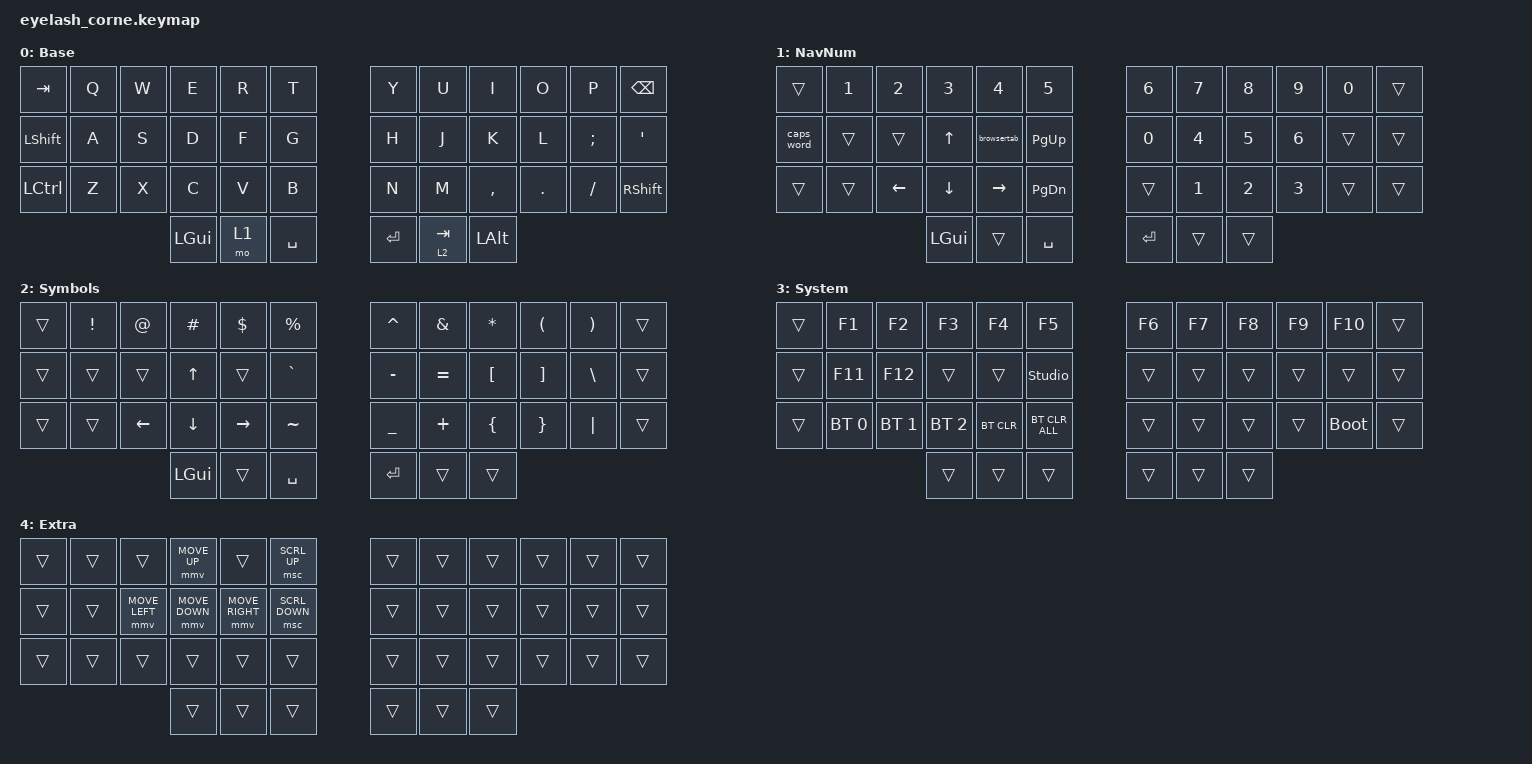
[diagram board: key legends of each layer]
#define ZMK_POINTING_DEFAULT_MOVE_VAL 1200  // 600
#define ZMK_POINTING_DEFAULT_SCRL_VAL 25   // 10

#include <input/processors.dtsi>
#include <zephyr/dt-bindings/input/input-event-codes.h>
#include <behaviors.dtsi>
#include <dt-bindings/zmk/bt.h>
#include <dt-bindings/zmk/keys.h>
#include <dt-bindings/zmk/outputs.h>
#include <dt-bindings/zmk/pointing.h>
#include <dt-bindings/zmk/rgb.h>

&mmv_input_listener { input-processors = <&zip_xy_scaler 2 1>; };

&msc_input_listener { input-processors = <&zip_scroll_scaler 2 1>; };

&msc {
    acceleration-exponent = <1>;      // 0
    time-to-max-speed-ms = <100>;       // 300
    delay-ms = <0>;                   // 0
};

&mmv {
    time-to-max-speed-ms = <500>;
    acceleration-exponent = <1>;
    trigger-period-ms = <16>;
};

&soft_off { hold-time-ms = <2000>; };

#include <behaviors.dtsi>
#include <dt-bindings/zmk/bt.h>
#include <dt-bindings/zmk/keys.h>
#include <dt-bindings/zmk/pointing.h>

#define DEF 0
#define NAV 1
#define SYM 2
#define ADJ 3
#define EXTRA 4

/ {
    behaviors {
        hm: homerow_mods {
            compatible = "zmk,behavior-hold-tap";
            label = "HOMEROW_MODS";
            #binding-cells = <2>;
            tapping-term-ms = <200>;
            quick_tap_ms = <0>;
            flavor = "tap-preferred";
            bindings = <&kp>, <&kp>;

            quick-tap-ms = <180>;
            global-quick-tap;
        };

        para: para {
            compatible = "zmk,behavior-tap-dance";
            label = "PARA";
            #binding-cells = <0>;
            bindings = <&kp LEFT_PARENTHESIS>, <&kp RIGHT_PARENTHESIS>;
        };

        caps: caps {
            compatible = "zmk,behavior-caps-word";
            label = "CAPS";
            #binding-cells = <0>;
            continue-list = <MINUS BACKSPACE>;
        };

        paraless: paraless {
            compatible = "zmk,behavior-mod-morph";
            label = "PARALESS";
            bindings = <&kp LEFT_PARENTHESIS>, <&kp LESS_THAN>;

            #binding-cells = <0>;
            mods = <(MOD_LSFT)>;
        };

        paragreat: paragreat {
            compatible = "zmk,behavior-mod-morph";
            label = "PARAGREAT";
            bindings = <&kp RIGHT_PARENTHESIS>, <&kp GREATER_THAN>;

            #binding-cells = <0>;
            mods = <(MOD_LSFT)>;
        };
    };

    macros {
        browsertab: browsertab {
            compatible = "zmk,behavior-macro";
            #binding-cells = <0>;
            bindings =
                <&macro_press>,
                <&kp LCTRL>,
                <&macro_tap>,
                <&kp TAB>,
                <&macro_release>,
                <&kp LCTRL>;
        };

    };

    combos {
        compatible = "zmk,combos";

        escape {
            bindings = <&kp ESCAPE>;
            key-positions = <13 29>;
        };

        delete {
            bindings = <&kp DELETE>;
            key-positions = <15 21>;
        };

        perc {
            bindings = <&kp PERCENT>;
            key-positions = <5 17>;
        };

        equal {
            bindings = <&kp EQUAL>;
            key-positions = <28 16>;
        };

        dollar {
            bindings = <&kp DOLLAR>;
            key-positions = <4 16>;
        };

        pound {
            bindings = <&kp POUND>;
            key-positions = <3 15>;
        };

        at {
            bindings = <&kp AT>;
            key-positions = <2 14>;
        };

        backslash {
            bindings = <&kp BACKSLASH>;
            key-positions = <26 14>;
        };

        copy {
            bindings = <&kp K_COPY>;
            key-positions = <28 27>;
        };

        paste {
            bindings = <&kp K_PASTE>;
            key-positions = <26 27>;
        };

        star {
            bindings = <&kp STAR>;
            key-positions = <8 20>;
        };

        slash {
            bindings = <&kp SLASH>;
            key-positions = <32 20>;
        };

        plus {
            bindings = <&kp PLUS>;
            key-positions = <7 19>;
        };

        minus {
            bindings = <&kp KP_MINUS>;
            key-positions = <31 19>;
        };

        underscore {
            bindings = <&kp UNDER>;
            key-positions = <30 18>;
        };

        leftbrack {
            bindings = <&kp LEFT_BRACKET>;
            key-positions = <31 32>;
        };

        rightbrack {
            bindings = <&kp RIGHT_BRACKET>;
            key-positions = <33 32>;
        };

        para-less {
            bindings = <&paraless>;
            key-positions = <20 19>;
        };

        para-great {
            bindings = <&paragreat>;
            key-positions = <20 21>;
        };
    };

    //

    keymap {
        compatible = "zmk,keymap";

        DEF {
            display-name = "Base";

            // -----------------------------------------------------------------------------------------
            // |  Q  |  W  |  E  |  R  |  T  |   |  Y  |  U   |  I  |  O  |  P  |
            // |  A  |  S  |  D  |  F  |  G  |   |  H  |  J   |  K  |  L  |  ;  |
            // |  Z  |  X  |  C  |  V  |  B  |   |  N  |  M   |  ,  |  .  |  /  |
            // | GUI | CTRL | SHFT | LWR | SPC |   | ENT | RSE  | BKSP | ALT | ESC |

            bindings = <
&kp TAB    &kp Q  &kp W  &kp E     &kp R  &kp T        &kp Y    &kp U      &kp I          &kp O    &kp P     &kp BACKSPACE
&kp LSHFT  &kp A  &kp S  &kp D     &kp F  &kp G        &kp H    &kp J      &kp K          &kp L    &kp SEMI  &kp SQT
&kp LCTRL  &kp Z  &kp X  &kp C     &kp V  &kp B        &kp N    &kp M      &kp COMMA      &kp DOT  &kp FSLH  &kp RSHFT
                         &kp LGUI  &mo 1  &kp SPACE    &kp RET  &lt 2 TAB  &kp LEFT_ALT
            >;
        };

        NAV {
            display-name = "NavNum";

            // -----------------------------------------------------------------------------------------
            // |  TAB |  1  |  2  |  3  |  4  |  5  |   |  6  |  7  |  8  |  9  |  0  | BKSP |
            // | BTCLR| BT1 | BT2 | BT3 | BT4 | BT5 |   | LFT | DWN |  UP | RGT |     |      |
            // | SHFT |     |     |     |     |     |   |     |     |     |     |     |      |
            // | GUI | CTRL | SHFT | LWR | SPC |   | ENT | RSE  | BKSP | ALT | ESC |

            bindings = <
&trans  &kp N1  &kp N2    &kp N3       &kp N4           &kp N5           &kp N6   &kp N7        &kp N8        &kp N9        &kp N0  &trans
&caps_word  &trans  &trans    &kp UP_ARROW  &browsertab      &kp PAGE_UP      &kp N0   &kp N4  &kp N5        &kp N6  &trans  &trans
&trans  &trans  &kp LEFT  &kp DOWN      &kp RIGHT_ARROW  &kp PAGE_DOWN    &trans   &kp N1  &kp N2  &kp N3  &trans  &trans
                          &kp LGUI      &trans           &kp SPACE        &kp RET  &trans        &trans
            >;
        };

        SYM {
            display-name = "Symbols";

            // -----------------------------------------------------------------------------------------
            // |  TAB |  !  |  @  |  #  |  $  |  %  |   |  ^  |  &  |  *  |  (  |  )  | BKSP |
            // | CTRL |     |     |     |     |     |   |  -  |  =  |  [  |  ]  |  \  |  `   |
            // | SHFT |     |     |     |     |     |   |  _  |  +  |  {  |  }  | "|" |  ~   |
            //                    | GUI |     | SPC |   | ENT |     | ALT |

            bindings = <
&trans  &kp EXCL  &kp AT          &kp HASH        &kp DLLR         &kp PRCNT    &kp CARET  &kp AMPS   &kp ASTRK  &kp LEFT_PARENTHESIS  &kp RPAR  &trans
&trans  &trans    &trans          &kp UP_ARROW    &trans           &kp GRAVE    &kp MINUS  &kp EQUAL  &kp LBKT   &kp RBKT              &kp BSLH  &trans
&trans  &trans    &kp LEFT_ARROW  &kp DOWN_ARROW  &kp RIGHT_ARROW  &kp TILDE    &kp UNDER  &kp PLUS   &kp LBRC   &kp RBRC              &kp PIPE  &trans
                                  &kp LGUI        &trans           &kp SPACE    &kp RET    &trans     &trans
            >;
        };

        ADJ {
            display-name = "System";
            bindings = <
&trans  &kp F1        &kp F2        &kp F3        &kp F4      &kp F5            &kp F6  &kp F7  &kp F8  &kp F9  &kp F10      &trans
&trans  &kp F11       &kp F12       &trans        &trans      &studio_unlock            &trans  &trans  &trans  &trans  &trans       &trans
&trans  &bt BT_SEL 0  &bt BT_SEL 1  &bt BT_SEL 2  &bt BT_CLR  &bt BT_CLR_ALL    &trans  &trans  &trans  &trans  &bootloader  &trans
                                    &trans        &trans      &trans            &trans  &trans  &trans
            >;
        };
        EXTRA {
                display-name = "Extra";
            bindings = <
&trans  &trans       &trans         &mmv MOVE_UP       &trans      &msc SCRL_UP    &trans  &trans  &trans  &trans  &trans      &trans
&trans  &trans       &mmv MOVE_LEFT &mmv MOVE_DOWN     &mmv MOVE_RIGHT   &msc SCRL_DOWN            &trans  &trans  &trans  &trans  &trans       &trans
&trans  &trans       &trans   &trans  &trans  &trans    &trans  &trans  &trans  &trans  &trans  &trans
                                     &trans        &trans      &trans            &trans  &trans  &trans
            >;
        };
    };

    conditional_layers {
        compatible = "zmk,conditional-layers";

        l3 {
            if-layers = <1 2>;
            then-layer = <3>;
        };
    };
};
